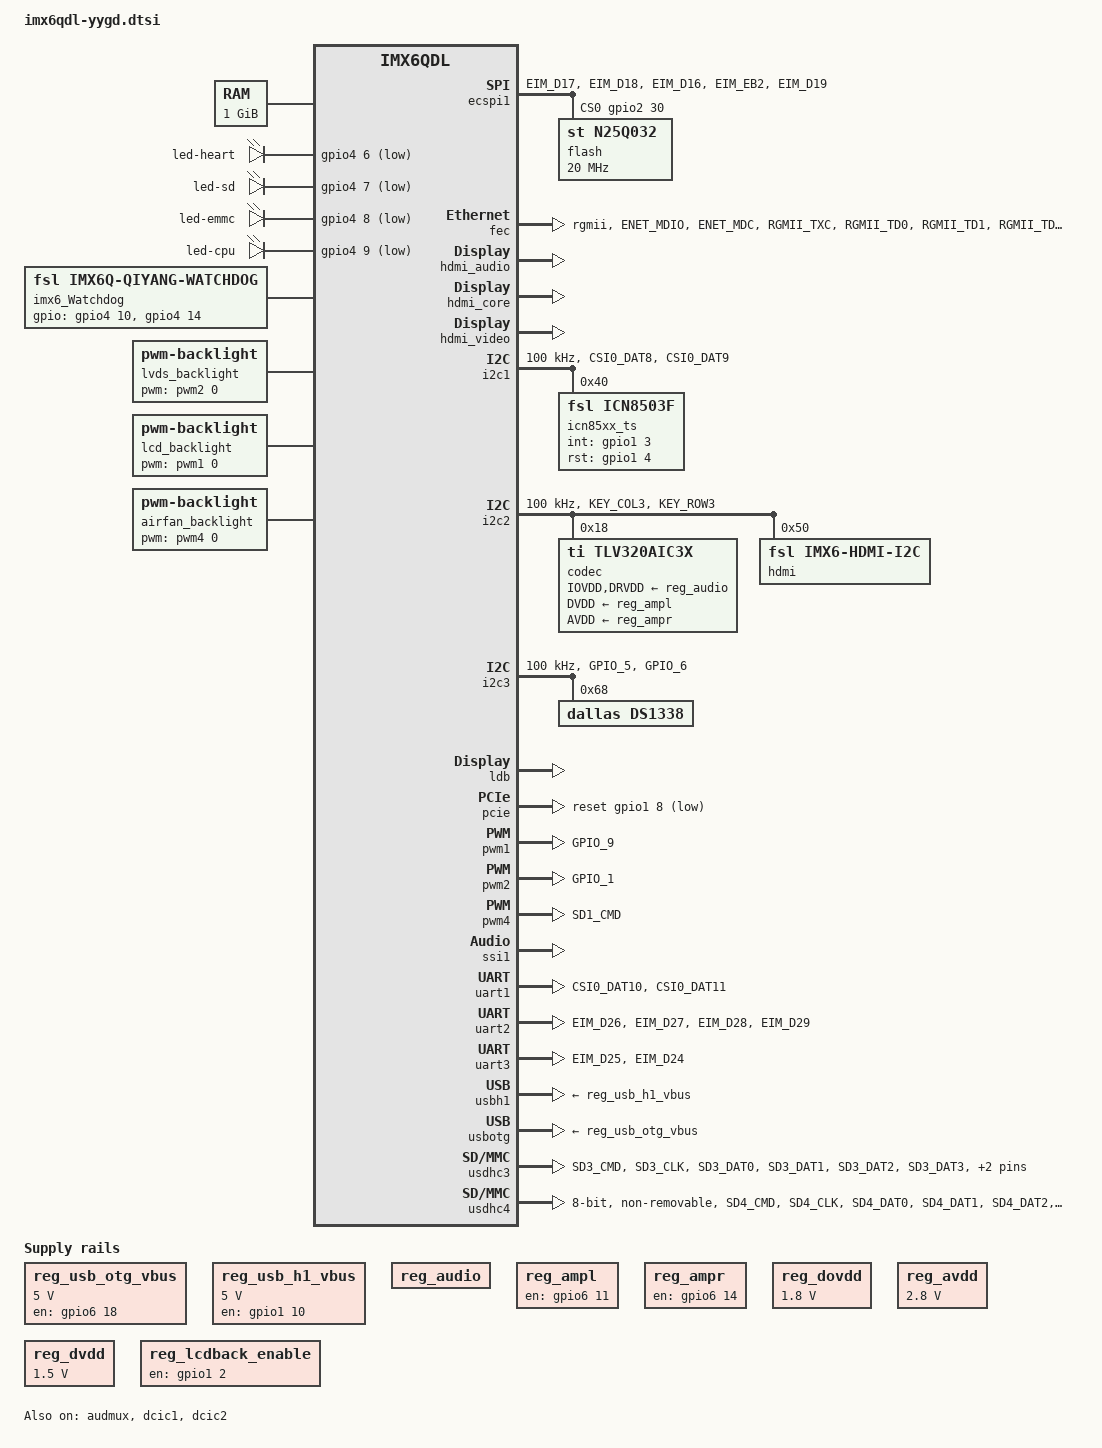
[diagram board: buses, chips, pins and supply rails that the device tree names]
/*
 * Copyright 2012 Freescale Semiconductor, Inc.
 * Copyright 2011 Linaro Ltd.
 *
 * The code contained herein is licensed under the GNU General Public
 * License. You may obtain a copy of the GNU General Public License
 * Version 2 or later at the following locations:
 *
 * http://www.opensource.org/licenses/gpl-license.html
 * http://www.gnu.org/copyleft/gpl.html
 */

/ {
	aliases {
		mxcfb0 = &mxcfb1;
		mxcfb1 = &mxcfb2;
		mxcfb2 = &mxcfb3;
		mxcfb3 = &mxcfb4;
		mmc0 = &usdhc4;
		mmc1 = &usdhc3;
	};

	memory {
		reg = <0x10000000 0x40000000>;
	};

	leds {
		compatible = "gpio-leds";

		led-heart {
			gpios = <&gpio4 6 GPIO_ACTIVE_LOW>;
			linux,default-trigger = "heartbeat";
		};

		led-sd {
			gpios = <&gpio4 7 GPIO_ACTIVE_LOW>;
			linux,default-trigger = "mmc1";
		};

		led-emmc {
			gpios = <&gpio4 8 GPIO_ACTIVE_LOW>;
			linux,default-trigger = "mmc0";
		};

		led-cpu {
			gpios = <&gpio4 9 GPIO_ACTIVE_LOW>;
			linux,default-trigger = "cpu0";
		};
	};


	imx6_Watchdog {
		compatible = "fsl,imx6q-qiyang-watchdog";
			gpios = <&gpio4 10 0
					 &gpio4 14 0>;
		status = "okay";
	};

	imx6_gpios{
		compatible = "fsl,qiyang_imx6_gpio";
	};

	regulators {
		compatible = "simple-bus";

		reg_usb_otg_vbus: usb_otg_vbus {
			compatible = "regulator-fixed";
			regulator-name = "usb_otg_vbus";
			regulator-min-microvolt = <5000000>;
			regulator-max-microvolt = <5000000>;
			gpio = <&gpio6 18 0>;
			enable-active-high;
		};

		reg_usb_h1_vbus: usb_h1_vbus {
			compatible = "regulator-fixed";
			regulator-name = "usb_h1_vbus";
			regulator-min-microvolt = <5000000>;
			regulator-max-microvolt = <5000000>;
			gpio = <&gpio1 10 0>;
			enable-active-high;
		};

		reg_audio: tlv320aic3x_supply {
			compatible = "regulator-fixed";
			regulator-name = "tlv320aic3x-supply";
		};

		/* HACK */
		reg_ampl: ampl_supply {
			compatible = "regulator-fixed";
			regulator-name = "ampl-supply";
			gpio = <&gpio6 11 0>;
			enable-active-high;
		};

		/* HACK */
		reg_ampr: ampr_supply {
			compatible = "regulator-fixed";
			regulator-name = "ampr-supply";
			gpio = <&gpio6 14 0>;
			enable-active-high;
		};

		reg_dovdd: 1p8_supply {
			compatible = "regulator-fixed";
			regulator-name = "1p8";
			regulator-min-microvolt = <1800000>;
			regulator-max-microvolt = <1800000>;
		};

		reg_avdd: 2p8_supply {
			compatible = "regulator-fixed";
			regulator-name = "2p8";
			regulator-min-microvolt = <2800000>;
			regulator-max-microvolt = <2800000>;
		};

		reg_dvdd: 1p5_supply {
			compatible = "regulator-fixed";
			regulator-name = "1p5";
			regulator-min-microvolt = <1500000>;
			regulator-max-microvolt = <1500000>;
		};

		/* LCD backlight enable add by shim */
		reg_lcdback_enable: reg_lcdback_enable {
			compatible = "regulator-fixed";
			regulator-name = "backlight-supply";
			gpio = <&gpio1 2 0>;
			enable-active-high;
		};
	};

	sound {
		compatible = "fsl,imx6q-qiyang-tlv320aic3x", "fsl,imx-audio-tlv320aic3x";
		model = "tlv320aic3x-audio";
		ssi-controller = <&ssi1>;
		audio-codec = <&codec>;
		audio-routing =
		"Headphone Jack", "HPOUTL",
		"Headphone Jack", "HPOUTR",
		"Ext Spk", "HPLOUT",
		"Ext Spk", "HPROUT",
		"LINE1L", "Mic Bias",
		"Mic Bias", "DMIC";
		mux-int-port = <1>;
		mux-ext-port = <4>;
	};

	sound-hdmi {
		compatible = "fsl,imx6q-audio-hdmi", "fsl,imx-audio-hdmi";
		model = "imx-audio-hdmi";
		hdmi-controller = <&hdmi_audio>;
	};


	mxcfb1: fb@0 {
		compatible = "fsl,mxc_sdc_fb";
		disp_dev = "ldb";
		interface_pix_fmt = "RGB666";
		default_bpp = <32>;
		int_clk = <0>;
		late_init = <0>;
		status = "disabled";
	};

	mxcfb2: fb@1 {
		compatible = "fsl,mxc_sdc_fb";
		disp_dev = "hdmi";
		interface_pix_fmt = "RGB24";
		mode_str ="1280x720M@60";
		default_bpp = <32>;
		int_clk = <0>;
		late_init = <0>;
		status = "disabled";
	};

	mxcfb3: fb@2 {
		compatible = "fsl,mxc_sdc_fb";
		disp_dev = "ldb";
		interface_pix_fmt = "RGB666";
		default_bpp = <16>;
		int_clk = <0>;
		late_init = <0>;
		status = "disabled";
	};

	 mxcfb4: fb@3 {
		compatible = "fsl,mxc_sdc_fb";
		disp_dev = "lcd";
		interface_pix_fmt = "RGB24";
		mode_str ="QY-LCD-800X600";
		default_bpp = <24>;
		int_clk = <0>;
		late_init = <0>;
		power-supply = <&reg_lcdback_enable>;
		status = "disabled";
	};

	lcd@0 {
		compatible = "fsl,lcd";
		ipu_id = <0>;
		disp_id = <0>;
		default_ifmt = "RGB24";
		pinctrl-names = "default";
		pinctrl-0 = <&pinctrl_ipu1disp>;
		status = "disabled";
	};

	lvds_backlight {
		compatible = "pwm-backlight";
		pwms = <&pwm2 0 5000000>;
		brightness-levels = <0 4 8 16 32 64 128 255>;
		default-brightness-level = <7>;
	};

	lcd_backlight {
		compatible = "pwm-backlight";
		pwms = <&pwm1 0 5000000>;
		brightness-levels = <0 4 8 16 32 64 128 255>;
		default-brightness-level = <7>;
	};

	airfan_backlight {
		compatible = "pwm-backlight";
		pwms = <&pwm4 0 5000000>;
		brightness-levels = <0 4 8 16 32 64 128 255>;
		default-brightness-level = <7>;
	};

	v4l2_cap_0 {
		compatible = "fsl,imx6q-v4l2-capture";
		ipu_id = <0>;
		csi_id = <0>;
		mclk_source = <0>;
		status = "okay";
	};

	v4l2_cap_1 {
		compatible = "fsl,imx6q-v4l2-capture";
		ipu_id = <0>;
		csi_id = <1>;
		mclk_source = <0>;
		status = "okay";
	};

	v4l2_out {
		compatible = "fsl,mxc_v4l2_output";
		status = "okay";
	};
};

&audmux {
	pinctrl-names = "default";
	pinctrl-0 = <&pinctrl_audmux>;
	status = "okay";
};

&ecspi1 {
	fsl,spi-num-chipselects = <2>;
	cs-gpios = <&gpio2 30 0>, <&gpio3 19 0>;
	pinctrl-names = "default";
	pinctrl-0 = <&pinctrl_ecspi1>, <&pinctrl_ecspi1_cs>;
	status = "okay";

	flash: m25p80@0 {
    #address-cells = <1>;
    #size-cells = <1>;
	compatible = "st,n25q032";
	spi-max-frequency = <20000000>;
	reg = <0>;
};

/*
ads7846: ads7846@0 {
	#address-cells = <1>;
	#size-cells = <1>;
	compatible = "fsl,ads7846_ts-spi";
	spi-max-frequency = <1500000>;
	reg = <1>;
	gpios = <&gpio4 15 0>;
	};
*/
};



&fec {
	pinctrl-names = "default";
	pinctrl-0 = <&pinctrl_enet>;
	phy-mode = "rgmii";
	/* phy fixup will be nullified if we set this
	phy-reset-gpios = <&gpio1 11 GPIO_ACTIVE_LOW>;
	phy-reset-duration = <1>;
	*/
	status = "okay";
};

&gpc {
	fsl,cpu_pupscr_sw2iso = <0xf>;
	fsl,cpu_pupscr_sw = <0xf>;
	fsl,cpu_pdnscr_iso2sw = <0x1>;
	fsl,cpu_pdnscr_iso = <0x1>;
};

&hdmi_audio {
	status = "okay";
};

&hdmi_cec {
	status = "disabled";
};

&hdmi_core {
	ipu_id = <0>;
	disp_id = <1>;
	status = "okay";
};

&hdmi_video {
	fsl,phy_reg_vlev = <0x0294>;
	fsl,phy_reg_cksymtx = <0x800d>;
	status = "okay";
};

&i2c1 {
	clock-frequency = <100000>;
	pinctrl-names = "default";
	pinctrl-0 = <&pinctrl_i2c1>;
	status = "okay";

	icn85xx_ts:icn85xx_ts@30 {
		compatible = "fsl,icn8503f";
		reg = <0x40>;
		int-gpio = <&gpio1 3 0>;
		rst-gpio = <&gpio1 4 0>;
		max-x = <800>;
		max-y = <480>;
		revert-x = <1>;
		revert-y = <1>;
		status = "okay";
	};
};

&i2c2 {
	clock-frequency = <100000>;
	pinctrl-names = "default";
	pinctrl-0 = <&pinctrl_i2c2>;
	status = "okay";

	codec: tlv320aic3x@18 {
		compatible = "ti,tlv320aic3x";
		reg = <0x18>;
		clocks = <&clks 201>;
		ai3x-micbias-vg = <2>;

		IOVDD-supply = <&reg_audio>;
		DVDD-supply = <&reg_ampl>; /* HACK */
		AVDD-supply = <&reg_ampr>; /* HACK */
		DRVDD-supply = <&reg_audio>;
	};

	hdmi: edid@50 {
		compatible = "fsl,imx6-hdmi-i2c";
		reg = <0x50>;
	};
};

&i2c3 {
	clock-frequency = <100000>;
	pinctrl-names = "default";
	pinctrl-0 = <&pinctrl_i2c3>;
	status = "okay";


	ds1338:rtc@68 {
	compatible = "dallas,ds1338";
	reg = <0x68>;
	};
};

&iomuxc {
	pinctrl-names = "default";
	pinctrl-0 = <&pinctrl_hog_1>;

	imx6qdl-qiyang {
		pinctrl_hog_1: hoggrp {
			fsl,pins = <
				MX6QDL_PAD_SD3_DAT6__GPIO6_IO18 0x80000000  //USB_OTG_PWR
				MX6QDL_PAD_SD2_CLK__GPIO1_IO10 0x80000000   //USB_HUB_RSTn
				MX6QDL_PAD_SD3_DAT5__GPIO7_IO00 0x80000000 //sd3  cd
				MX6QDL_PAD_SD3_DAT4__GPIO7_IO01 0x80000000 //sd3  wp
				MX6QDL_PAD_SD2_CMD__GPIO1_IO11 0x80000000   //PHY_RSTn
				//MX6QDL_PAD_CSI0_DAT5__GPIO5_IO23 0x80000000  //camera pwn
				//MX6QDL_PAD_CSI0_DAT6__GPIO5_IO24 0x80000000  //camera rst
				MX6QDL_PAD_GPIO_0__CCM_CLKO1    0x130b0       //AUDIO_MCLK
				MX6QDL_PAD_GPIO_7__GPIO1_IO07 0x80000000       /*pcie*/
				MX6QDL_PAD_GPIO_8__GPIO1_IO08 0x80000000       /*pcie*/

				MX6QDL_PAD_GPIO_2__GPIO1_IO02 0x80000000 /*LCD backlight enbale*/
				MX6QDL_PAD_GPIO_3__GPIO1_IO03 0x80000000/* touch */
				MX6QDL_PAD_GPIO_4__GPIO1_IO04 0x80000000/* touch */

				MX6QDL_PAD_GPIO_16__GPIO7_IO11 0x80000000  //usb1 power switch
				MX6QDL_PAD_GPIO_17__GPIO7_IO12 0x80000000  //usb2 power switch
				MX6QDL_PAD_GPIO_18__GPIO7_IO13 0x80000000  //usb3 power switch
				MX6QDL_PAD_GPIO_19__GPIO4_IO05 0x80000000  //usb4 power switch

				MX6QDL_PAD_KEY_COL0__GPIO4_IO06 0x80000000  /*heartbeat*/
				MX6QDL_PAD_KEY_ROW0__GPIO4_IO07 0x80000000  /*mmc0*/
				MX6QDL_PAD_KEY_COL1__GPIO4_IO08 0x80000000  /*mmc1*/
				MX6QDL_PAD_KEY_ROW1__GPIO4_IO09 0x80000000  /*cpu0*/
				MX6QDL_PAD_SD1_DAT3__GPIO1_IO21 0x80000000  /*key1*/

				MX6QDL_PAD_KEY_COL2__GPIO4_IO10 0x80000000  /*wdt*/
				MX6QDL_PAD_KEY_COL4__GPIO4_IO14 0x80000000 /* wdt */

				MX6QDL_PAD_KEY_ROW4__GPIO4_IO15 0x80000000 /* ads7846 irq */

				MX6QDL_PAD_NANDF_CS0__GPIO6_IO11 0x80000000 /* AMP L */
				MX6QDL_PAD_NANDF_CS1__GPIO6_IO14 0x80000000 /* AMP R */

				MX6QDL_PAD_SD1_DAT0__GPIO1_IO16 0x80000000 //gpio 1
				MX6QDL_PAD_SD1_DAT1__GPIO1_IO17 0x80000000 //gpio 2
				MX6QDL_PAD_NANDF_CS2__GPIO6_IO15 0x80000000  //gpio 3
				MX6QDL_PAD_SD1_DAT2__GPIO1_IO19 0x80000000 //gpio 4
				MX6QDL_PAD_SD1_CLK__GPIO1_IO20 0x80000000  //gpio 5
			>;
		};

		pinctrl_audmux: audmuxgrp {
			fsl,pins = <
				MX6QDL_PAD_SD2_DAT0__AUD4_RXD  0x130b0
				MX6QDL_PAD_SD2_DAT3__AUD4_TXC  0x130b0
				MX6QDL_PAD_SD2_DAT2__AUD4_TXD  0x110b0
				MX6QDL_PAD_SD2_DAT1__AUD4_TXFS 0x130b0
			>;
		};

		pinctrl_ecspi1_cs: ecspi1_csgrp {
			fsl,pins = <
				MX6QDL_PAD_EIM_EB2__GPIO2_IO30 0x80000000
				MX6QDL_PAD_EIM_D19__GPIO3_IO19 0x80000000
			>;
		};

		pinctrl_ecspi1: ecspi1grp {
			fsl,pins = <
				MX6QDL_PAD_EIM_D17__ECSPI1_MISO 0x100b1
				MX6QDL_PAD_EIM_D18__ECSPI1_MOSI 0x100b1
				MX6QDL_PAD_EIM_D16__ECSPI1_SCLK 0x100b1
			>;
		};

/*
		pinctrl_flexcan1: flexcan1grp {
			fsl,pins = <
				MX6QDL_PAD_KEY_ROW2__FLEXCAN1_RX 0x80000000
				MX6QDL_PAD_KEY_COL2__FLEXCAN1_TX 0x80000000
			>;
		};

		pinctrl_flexcan2: flexcan2grp {
			fsl,pins = <
				MX6QDL_PAD_KEY_COL4__FLEXCAN2_TX 0x80000000
				MX6QDL_PAD_KEY_ROW4__FLEXCAN2_RX 0x80000000
			>;
		};
*/

		pinctrl_enet: enetgrp {
			fsl,pins = <
				MX6QDL_PAD_ENET_MDIO__ENET_MDIO       0x1b0b0
				MX6QDL_PAD_ENET_MDC__ENET_MDC         0x1b0b0
				MX6QDL_PAD_RGMII_TXC__RGMII_TXC       0x1b0b0
				MX6QDL_PAD_RGMII_TD0__RGMII_TD0       0x1b0b0
				MX6QDL_PAD_RGMII_TD1__RGMII_TD1       0x1b0b0
				MX6QDL_PAD_RGMII_TD2__RGMII_TD2       0x1b0b0
				MX6QDL_PAD_RGMII_TD3__RGMII_TD3       0x1b0b0
				MX6QDL_PAD_RGMII_TX_CTL__RGMII_TX_CTL 0x1b0b0
				MX6QDL_PAD_ENET_REF_CLK__ENET_TX_CLK  0x1b0b0
				MX6QDL_PAD_RGMII_RXC__RGMII_RXC       0x1b0b0
				MX6QDL_PAD_RGMII_RD0__RGMII_RD0       0x1b0b0
				MX6QDL_PAD_RGMII_RD1__RGMII_RD1       0x1b0b0
				MX6QDL_PAD_RGMII_RD2__RGMII_RD2       0x1b0b0
				MX6QDL_PAD_RGMII_RD3__RGMII_RD3       0x1b0b0
				MX6QDL_PAD_RGMII_RX_CTL__RGMII_RX_CTL 0x1b0b0
			>;
		};

		pinctrl_i2c1: i2c1grp {
			fsl,pins = <
				MX6QDL_PAD_CSI0_DAT8__I2C1_SDA 0x4001b8b1
				MX6QDL_PAD_CSI0_DAT9__I2C1_SCL 0x4001b8b1
			>;
		};

		pinctrl_i2c2: i2c2grp {
			fsl,pins = <
				MX6QDL_PAD_KEY_COL3__I2C2_SCL 0x4001b8b1
				MX6QDL_PAD_KEY_ROW3__I2C2_SDA 0x4001b8b1
			>;
		};

		pinctrl_i2c3: i2c3grp {
			fsl,pins = <
				MX6QDL_PAD_GPIO_5__I2C3_SCL  0x4001b8b1
				MX6QDL_PAD_GPIO_6__I2C3_SDA 0x4001b8b1
			>;
		};

		pinctrl_uart1: uart1grp {
			fsl,pins = <
				MX6QDL_PAD_CSI0_DAT10__UART1_TX_DATA 0x1b0b1
				MX6QDL_PAD_CSI0_DAT11__UART1_RX_DATA 0x1b0b1
			>;
		};

		pinctrl_uart2: uart2grp { /* DTE mode */
			fsl,pins = <
				MX6QDL_PAD_EIM_D26__UART2_TX_DATA   0x1b0b1
				MX6QDL_PAD_EIM_D27__UART2_RX_DATA   0x1b0b1
				MX6QDL_PAD_EIM_D28__UART2_CTS_B 0x1b0b1
				MX6QDL_PAD_EIM_D29__UART2_RTS_B 0x1b0b1
			>;
		};

		pinctrl_uart3: uart3grp {
			fsl,pins = <
				MX6QDL_PAD_EIM_D25__UART3_RX_DATA 0x1b0b1
				MX6QDL_PAD_EIM_D24__UART3_TX_DATA 0x1b0b1
				//MX6QDL_PAD_EIM_D30__UART3_CTS_B   0x1b0b1
				//MX6QDL_PAD_EIM_D31__UART3_RTS_B   0x1b0b1
			>;
		};

		pinctrl_uart4: uart4grp {
			fsl,pins = <
				MX6QDL_PAD_KEY_COL0__UART4_TX_DATA 0x1b0b1
				MX6QDL_PAD_KEY_ROW0__UART4_RX_DATA 0x1b0b1
			>;
		};

		pinctrl_uart5: uart5grp {
			fsl,pins = <
				MX6QDL_PAD_KEY_COL1__UART5_TX_DATA 0x1b0b1
				MX6QDL_PAD_KEY_ROW1__UART5_RX_DATA 0x1b0b1
			>;
		};

		pinctrl_usdhc3: usdhc3grp {
			fsl,pins = <
				MX6QDL_PAD_SD3_CMD__SD3_CMD    0x17059
				MX6QDL_PAD_SD3_CLK__SD3_CLK    0x10059
				MX6QDL_PAD_SD3_DAT0__SD3_DATA0 0x17059
				MX6QDL_PAD_SD3_DAT1__SD3_DATA1 0x17059
				MX6QDL_PAD_SD3_DAT2__SD3_DATA2 0x17059
				MX6QDL_PAD_SD3_DAT3__SD3_DATA3 0x17059
			>;
		};

		pinctrl_usdhc4: usdhc4grp {
			fsl,pins = <
				MX6QDL_PAD_SD4_CMD__SD4_CMD    0x17059
				MX6QDL_PAD_SD4_CLK__SD4_CLK    0x10059
				MX6QDL_PAD_SD4_DAT0__SD4_DATA0 0x17059
				MX6QDL_PAD_SD4_DAT1__SD4_DATA1 0x17059
				MX6QDL_PAD_SD4_DAT2__SD4_DATA2 0x17059
				MX6QDL_PAD_SD4_DAT3__SD4_DATA3 0x17059
				MX6QDL_PAD_SD4_DAT4__SD4_DATA4 0x17059
				MX6QDL_PAD_SD4_DAT5__SD4_DATA5 0x17059
				MX6QDL_PAD_SD4_DAT6__SD4_DATA6 0x17059
				MX6QDL_PAD_SD4_DAT7__SD4_DATA7 0x17059
			>;
		};

		pinctrl_ipu1disp: ipu1dispgrp {
			fsl,pins = <
				MX6QDL_PAD_DI0_DISP_CLK__IPU1_DI0_DISP_CLK 0x10
				MX6QDL_PAD_DI0_PIN15__IPU1_DI0_PIN15       0x10
				MX6QDL_PAD_DI0_PIN2__IPU1_DI0_PIN02        0x10
				MX6QDL_PAD_DI0_PIN3__IPU1_DI0_PIN03        0x10
				MX6QDL_PAD_DI0_PIN4__IPU1_DI0_PIN04        0x80000000

				MX6QDL_PAD_DISP0_DAT2__IPU1_DISP0_DATA02   0x10
				MX6QDL_PAD_DISP0_DAT3__IPU1_DISP0_DATA03   0x10
				MX6QDL_PAD_DISP0_DAT4__IPU1_DISP0_DATA04   0x10
				MX6QDL_PAD_DISP0_DAT5__IPU1_DISP0_DATA05   0x10
				MX6QDL_PAD_DISP0_DAT6__IPU1_DISP0_DATA06   0x10
				MX6QDL_PAD_DISP0_DAT7__IPU1_DISP0_DATA07   0x10
				MX6QDL_PAD_DISP0_DAT8__IPU1_DISP0_DATA08   0x10
				MX6QDL_PAD_DISP0_DAT9__IPU1_DISP0_DATA09   0x10
				MX6QDL_PAD_DISP0_DAT10__IPU1_DISP0_DATA10  0x10
				MX6QDL_PAD_DISP0_DAT11__IPU1_DISP0_DATA11  0x10
				MX6QDL_PAD_DISP0_DAT12__IPU1_DISP0_DATA12  0x10
				MX6QDL_PAD_DISP0_DAT13__IPU1_DISP0_DATA13  0x10
				MX6QDL_PAD_DISP0_DAT14__IPU1_DISP0_DATA14  0x10
				MX6QDL_PAD_DISP0_DAT15__IPU1_DISP0_DATA15  0x10
				MX6QDL_PAD_DISP0_DAT16__IPU1_DISP0_DATA16  0x10
				MX6QDL_PAD_DISP0_DAT17__IPU1_DISP0_DATA17  0x10
				MX6QDL_PAD_DISP0_DAT18__IPU1_DISP0_DATA18  0x10
				MX6QDL_PAD_DISP0_DAT19__IPU1_DISP0_DATA19  0x10
				MX6QDL_PAD_DISP0_DAT20__IPU1_DISP0_DATA20  0x10
				MX6QDL_PAD_DISP0_DAT21__IPU1_DISP0_DATA21  0x10
				MX6QDL_PAD_DISP0_DAT22__IPU1_DISP0_DATA22  0x10
				MX6QDL_PAD_DISP0_DAT23__IPU1_DISP0_DATA23  0x10
			>;
		};

		pinctrl_ipu1csi: ipu1csigrp { /* parallel camera */
			fsl,pins = <
				MX6QDL_PAD_CSI0_DAT12__IPU1_CSI0_DATA12    0x80000000
				MX6QDL_PAD_CSI0_DAT13__IPU1_CSI0_DATA13    0x80000000
				MX6QDL_PAD_CSI0_DAT14__IPU1_CSI0_DATA14    0x80000000
				MX6QDL_PAD_CSI0_DAT15__IPU1_CSI0_DATA15    0x80000000
				MX6QDL_PAD_CSI0_DAT16__IPU1_CSI0_DATA16    0x80000000
				MX6QDL_PAD_CSI0_DAT17__IPU1_CSI0_DATA17    0x80000000
				MX6QDL_PAD_CSI0_DAT18__IPU1_CSI0_DATA18    0x80000000
				MX6QDL_PAD_CSI0_DAT19__IPU1_CSI0_DATA19    0x80000000
				MX6QDL_PAD_CSI0_DATA_EN__IPU1_CSI0_DATA_EN 0x80000000
				MX6QDL_PAD_CSI0_PIXCLK__IPU1_CSI0_PIXCLK   0x80000000
				MX6QDL_PAD_CSI0_MCLK__IPU1_CSI0_HSYNC      0x80000000
				MX6QDL_PAD_CSI0_VSYNC__IPU1_CSI0_VSYNC     0x80000000
			>;
		};

		pinctrl_pwm4: pwm4grp {
			fsl,pins = <MX6QDL_PAD_SD1_CMD__PWM4_OUT 0x1b0b1>;
		};

		pinctrl_pwm2: pwm2grp {
			fsl,pins = <MX6QDL_PAD_GPIO_1__PWM2_OUT 0x1b0b1>;
		};

		pinctrl_pwm1: pwm1grp {
			fsl,pins = <MX6QDL_PAD_GPIO_9__PWM1_OUT 0x1b0b1>;
		};
	};
};

&ldb {
	status = "okay";

	lvds-channel@0 {
		fsl,data-mapping = "spwg";
		fsl,data-width = <18>;
		primary;
		status = "okay";

		display-timings {
			native-mode = <&timing0>;
			timing0: hsd100pxn1 {
				clock-frequency = <51200000>;
				hactive = <1024>;
				vactive = <600>;
				hback-porch = <150>;
				hfront-porch = <150>;
				vback-porch = <15>;
				vfront-porch = <15>;
				hsync-len = <20>;
				vsync-len = <5>;
			};
		};
	};

	lvds-channel@1 {
		fsl,data-mapping = "spwg";
		fsl,data-width = <18>;
		status = "disabled";

		display-timings {
			native-mode = <&timing1>;
			timing1: hsd100pxn1 {
				clock-frequency = <51200000>;
				hactive = <1024>;
				vactive = <600>;
				hback-porch = <150>;
				hfront-porch = <150>;
				vback-porch = <15>;
				vfront-porch = <15>;
				hsync-len = <20>;
				vsync-len = <5>;
			};
		};
	};
};

&dcic1 {
	dcic_id = <0>;
	dcic_mux = "dcic-hdmi";
	status = "okay";
};

&dcic2 {
	dcic_id = <1>;
	dcic_mux = "dcic-lvds0";
	status = "okay";
};

&pcie {
	disable-gpio = <&gpio1 7 0>;
	reset-gpio = <&gpio1 8 GPIO_ACTIVE_LOW>;
	status = "okay";
};

&pwm1 {
	pinctrl-names = "default";
	pinctrl-0 = <&pinctrl_pwm1>;
	status = "okay";
};

&pwm2 {
	pinctrl-names = "default";
	pinctrl-0 = <&pinctrl_pwm2>;
	status = "okay";
};


&pwm4 {
	pinctrl-names = "default";
	pinctrl-0 = <&pinctrl_pwm4>;
	status = "okay";
};
&ssi1 {
	fsl,mode = "i2s-slave";
	status = "okay";
};

&uart1 {
	pinctrl-names = "default";
	pinctrl-0 = <&pinctrl_uart1>;
	status = "okay";
};

/* FIXME: RTS not compatible with RS485 */
&uart2 {
	pinctrl-names = "default";
	pinctrl-0 = <&pinctrl_uart2>;
	fsl,uart-has-rtscts;
	status = "okay";
};

/* FIXME: RTS not compatible with RS485 */
&uart3 {
	pinctrl-names = "default";
	pinctrl-0 = <&pinctrl_uart3>;
	fsl,uart-has-rtscts;
	status = "okay";
};

&uart4 {
	pinctrl-names = "default";
	pinctrl-0 = <&pinctrl_uart4>;
	status = "disabled";
};

&uart5 {
	pinctrl-names = "default";
	pinctrl-0 = <&pinctrl_uart5>;
	status = "disabled";
};

&usbh1 {
	vbus-supply = <&reg_usb_h1_vbus>;
	status = "okay";
};

&usbotg {
	vbus-supply = <&reg_usb_otg_vbus>;
	/* FIXME: ID pin not connected correctly */
	disable-over-current;
	status = "okay";
};

&usdhc3 {
	pinctrl-names = "default";
	pinctrl-0 = <&pinctrl_usdhc3>;
	cd-gpios = <&gpio7 0 0>;
	wp-gpios = <&gpio7 1 0>;
	no-1-8-v;
	keep-power-in-suspend;
	enable-sdio-wakeup;
	status = "okay";
};

&usdhc4 {
	pinctrl-names = "default";
	pinctrl-0 = <&pinctrl_usdhc4>;
	bus-width = <8>;
	non-removable;
	no-1-8-v;
	keep-power-in-suspend;
	status = "okay";
};
